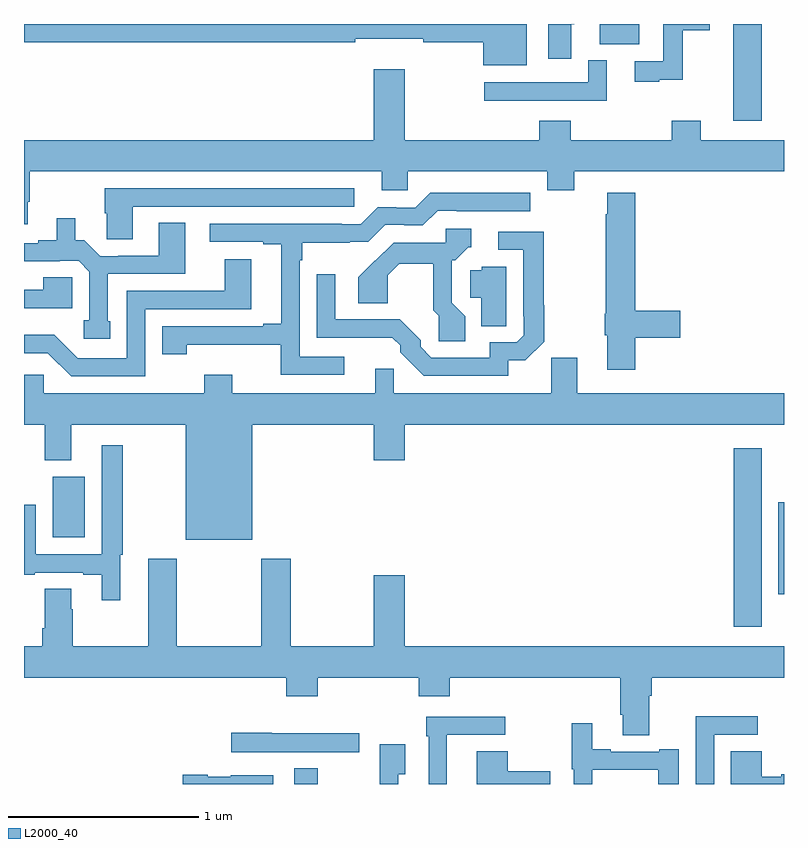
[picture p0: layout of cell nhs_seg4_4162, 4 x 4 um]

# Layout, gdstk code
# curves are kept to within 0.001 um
import gdstk
lib = gdstk.Library(unit=1e-6, precision=1e-09)
def R(c, l, rs):  # rectangles x0, y0, x1, y1
    for r in rs: c.add(gdstk.rectangle(r[:2], r[2:], *l))
def P(c, l, *ps):  # polygons
    for p in ps: c.add(gdstk.Polygon(p, *l))
L2000_40 = (2000, 40)

nhs_seg4_4162 = lib.new_cell('nhs_seg4_4162')
R(nhs_seg4_4162, L2000_40, [(332.423,822.9,332.545,822.983), (334.736,823.728,334.882,824.668), (334.971,823.899,335,824.383), (331.151,824.198,331.321,824.518), (334.733,826.392,334.883,826.9), (334.031,826.793,334.237,826.9)])
P(nhs_seg4_4162, L2000_40, [(334.343,826.607),(334.466,826.607),(334.466,826.867),(334.609,826.867),(334.609,826.9),(334.365,826.9),(334.365,826.704),(334.215,826.704),(334.215,826.596),(334.343,826.596)],
  [(333.646,826.9),(331,826.9),(331,826.804),(332.744,826.804),(332.744,826.823),(333.1,826.823),(333.1,826.804),(333.416,826.804),(333.416,826.682),(333.646,826.682)],
  [(333.88,826.899),(333.895,826.899),(333.895,826.9),(333.749,826.9),(333.749,826.899),(333.758,826.899),(333.758,826.716),(333.88,826.716)],
  [(334.066,826.708),(333.969,826.708),(333.969,826.593),(333.423,826.593),(333.423,826.497),(334.066,826.497)],
  [(331.021,825.964),(331.029,825.964),(331.029,826.124),(332.882,826.124),(332.882,826.026),(333.021,826.026),(333.021,826.124),(333.755,826.124),(333.755,826.025),(333.895,826.025),(333.895,826.124),(335,826.124),(335,826.288),(334.561,826.288),(334.561,826.39),(334.409,826.39),(334.409,826.288),(333.878,826.288),(333.878,826.39),(333.713,826.39),(333.713,826.288),(333.004,826.288),(333.004,826.663),(332.84,826.663),(332.84,826.288),(331,826.288),(331,825.846),(331.021,825.846)],
  [(331.573,825.939),(332.737,825.939),(332.737,826.035),(331.426,826.035),(331.426,825.903),(331.435,825.903),(331.435,825.766),(331.573,825.766)],
  [(332.686,825.15),(332.451,825.15),(332.451,825.656),(332.464,825.656),(332.464,825.75),(332.714,825.75),(332.714,825.753),(332.811,825.753),(332.901,825.843),(333.002,825.843),(333.002,825.84),(333.099,825.84),(333.177,825.918),(333.277,825.918),(333.277,825.915),(333.664,825.915),(333.664,826.011),(333.139,826.012),(333.06,825.933),(332.96,825.933),(332.96,825.936),(332.862,825.936),(332.772,825.846),(332.672,825.846),(332.672,825.849),(331.977,825.849),(331.977,825.753),(332.258,825.753),(332.258,825.741),(332.354,825.741),(332.354,825.322),(332.258,825.322),(332.258,825.309),(331.728,825.309),(331.728,825.162),(331.856,825.162),(331.856,825.212),(332.35,825.212),(332.35,825.054),(332.686,825.054)],
  [(334.217,825.25),(334.453,825.25),(334.453,825.392),(334.217,825.392),(334.217,826.012),(334.07,826.012),(334.07,825.899),(334.063,825.899),(334.063,825.375),(334.057,825.375),(334.057,825.261),(334.07,825.261),(334.07,825.081),(334.217,825.081)],
  [(331.453,825.336),(331.44,825.336),(331.44,825.585),(331.849,825.585),(331.849,825.854),(331.709,825.854),(331.709,825.681),(331.495,825.681),(331.495,825.678),(331.401,825.678),(331.317,825.762),(331.27,825.762),(331.27,825.877),(331.172,825.877),(331.172,825.762),(331.076,825.762),(331.076,825.747),(331,825.747),(331,825.651),(331.187,825.651),(331.187,825.654),(331.287,825.654),(331.344,825.597),(331.344,825.342),(331.314,825.342),(331.314,825.243),(331.453,825.243)],
  [(333.322,825.362),(333.252,825.432),(333.252,825.657),(333.27,825.657),(333.339,825.726),(333.355,825.726),(333.355,825.822),(333.219,825.822),(333.219,825.75),(332.945,825.75),(332.848,825.653),(332.847,825.654),(332.76,825.566),(332.76,825.43),(332.914,825.43),(332.914,825.578),(332.975,825.639),(333.154,825.639),(333.154,825.394),(333.183,825.365),(333.183,825.231),(333.322,825.231)],
  [(333.549,825.129),(333.638,825.129),(333.738,825.228),(333.738,825.419),(333.736,825.419),(333.736,825.807),(333.495,825.807),(333.495,825.711),(333.627,825.711),(333.627,825.361),(333.63,825.361),(333.63,825.261),(333.594,825.225),(333.45,825.225),(333.45,825.144),(333.144,825.144),(333.087,825.201),(333.087,825.235),(332.977,825.345),(332.637,825.345),(332.637,825.583),(332.541,825.583),(332.541,825.249),(332.938,825.248),(332.979,825.208),(332.979,825.173),(333.104,825.048),(333.549,825.048)],
  [(331.638,825.399),(332.197,825.399),(332.197,825.661),(332.057,825.661),(332.057,825.495),(331.542,825.495),(331.542,825.141),(331.284,825.141),(331.16,825.265),(331,825.265),(331,825.168),(331.125,825.168),(331.248,825.045),(331.638,825.045)],
  [(333.537,825.622),(333.408,825.622),(333.408,825.603),(333.348,825.603),(333.348,825.458),(333.407,825.458),(333.407,825.31),(333.537,825.31)],
  [(331.145,825.405),(331.255,825.405),(331.255,825.566),(331.102,825.566),(331.102,825.501),(331,825.501),(331,825.404),(331.145,825.404)],
  [(332.2,824.792),(332.84,824.792),(332.84,824.604),(333.004,824.604),(333.004,824.792),(335,824.792),(335,824.956),(333.913,824.956),(333.913,825.144),(333.775,825.144),(333.775,824.956),(332.945,824.956),(332.945,825.086),(332.849,825.086),(332.849,824.956),(332.095,824.956),(332.095,825.055),(331.948,825.055),(331.948,824.956),(331.104,824.956),(331.104,825.054),(331,825.054),(331,824.792),(331.109,824.792),(331.109,824.603),(331.249,824.603),(331.249,824.792),(331.85,824.792),(331.85,824.186),(332.2,824.186)],
  [(331.507,824.106),(331.519,824.106),(331.519,824.683),(331.41,824.683),(331.41,824.109),(331.063,824.109),(331.063,824.371),(331,824.371),(331,824.001),(331.057,824.001),(331.057,824.013),(331.313,824.013),(331.313,824.001),(331.409,824.001),(331.409,823.866),(331.507,823.866)],
  [(334.291,823.364),(334.304,823.364),(334.304,823.46),(335,823.46),(335,823.624),(333.004,823.624),(333.004,823.999),(332.84,823.999),(332.84,823.624),(332.403,823.624),(332.403,824.086),(332.248,824.086),(332.248,823.624),(331.803,823.624),(331.803,824.086),(331.655,824.086),(331.655,823.624),(331.257,823.624),(331.257,823.82),(331.249,823.82),(331.249,823.928),(331.109,823.928),(331.109,823.72),(331.097,823.72),(331.097,823.624),(331,823.624),(331,823.46),(332.381,823.46),(332.381,823.361),(332.546,823.361),(332.546,823.46),(333.077,823.46),(333.077,823.361),(333.242,823.361),(333.242,823.46),(334.139,823.46),(334.139,823.264),(334.151,823.264),(334.151,823.156),(334.291,823.156)],
  [(334.632,823.158),(334.861,823.158),(334.861,823.256),(334.536,823.256),(334.536,822.9),(334.632,822.9)],
  [(333.225,822.961),(333.226,822.961),(333.226,823.158),(333.532,823.158),(333.532,823.254),(333.117,823.254),(333.117,823.151),(333.129,823.151),(333.129,822.9),(333.225,822.9)],
  [(333.99,822.975),(334.337,822.975),(334.337,822.9),(334.447,822.9),(334.447,823.084),(334.343,823.084),(334.343,823.071),(334.087,823.071),(334.087,823.084),(333.991,823.084),(333.991,823.219),(333.882,823.219),(333.882,822.978),(333.894,822.978),(333.894,822.9),(333.99,822.9)],
  [(332.764,823.166),(332.303,823.166),(332.303,823.169),(332.091,823.169),(332.091,823.068),(332.764,823.068)],
  [(332.97,822.952),(333.007,822.952),(333.007,823.108),(332.872,823.108),(332.872,822.9),(332.97,822.9)],
  [(335,822.952),(334.986,822.952),(334.986,822.937),(334.883,822.937),(334.883,823.073),(334.721,823.073),(334.721,822.9),(335,822.9)],
  [(333.769,822.968),(333.546,822.968),(333.546,823.073),(333.383,823.073),(333.383,822.9),(333.769,822.9)],
  [(332.311,822.946),(332.088,822.946),(332.088,822.937),(331.968,822.937),(331.968,822.95),(331.836,822.95),(331.836,822.9),(332.311,822.9)])

lib.write_gds('nhs_seg4_4162.gds')
